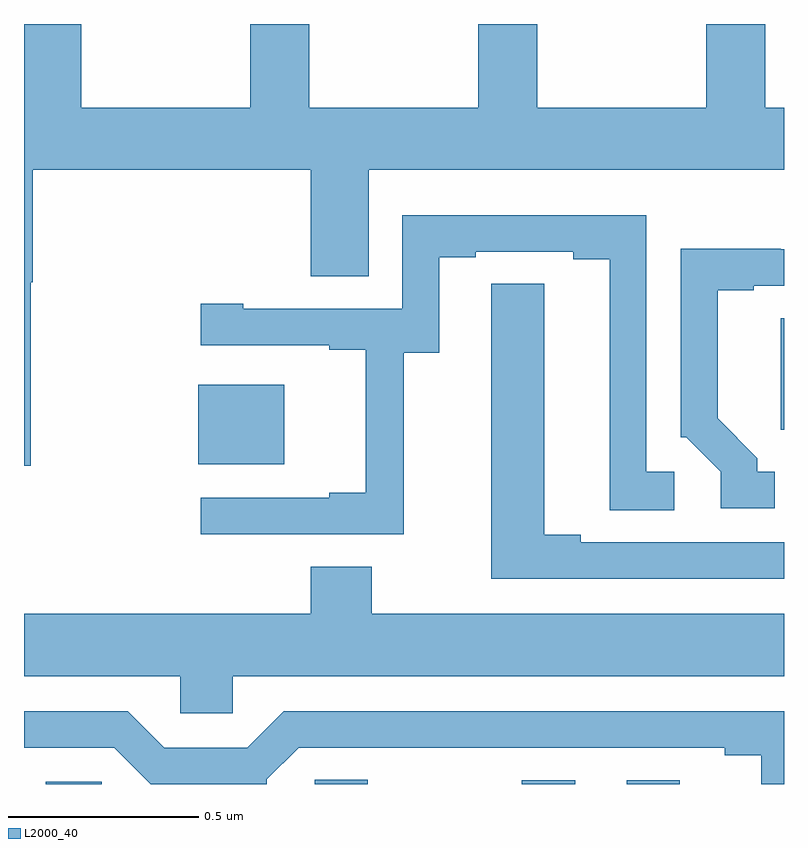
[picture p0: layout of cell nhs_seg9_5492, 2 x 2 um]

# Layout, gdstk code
import gdstk
lib = gdstk.Library(unit=1e-6, precision=1e-09)
def R(c, l, rs):  # rectangles x0, y0, x1, y1
    for r in rs: c.add(gdstk.rectangle(r[:2], r[2:], *l))
def P(c, l, *ps):  # polygons
    for p in ps: c.add(gdstk.Polygon(p, *l))
L2000_40 = (2000, 40)

nhs_seg9_5492 = lib.new_cell('nhs_seg9_5492')
R(nhs_seg9_5492, L2000_40, [(180.057,1165.5,180.204,1165.506), (180.765,1165.5,180.904,1165.511), (181.31,1165.5,181.45,1165.51), (181.586,1165.5,181.726,1165.51), (180.458,1166.342,180.685,1166.551), (181.991,1166.432,182,1166.726)])
P(nhs_seg9_5492, L2000_40, [(182,1167.28),(181.95,1167.28),(181.95,1167.5),(181.795,1167.5),(181.795,1167.28),(181.35,1167.28),(181.35,1167.5),(181.195,1167.5),(181.195,1167.28),(180.75,1167.28),(180.75,1167.5),(180.595,1167.5),(180.595,1167.28),(180.15,1167.28),(180.15,1167.5),(180,1167.5),(180,1166.337),(180.018,1166.337),(180.018,1166.82),(180.023,1166.82),(180.023,1167.116),(180.755,1167.116),(180.755,1166.836),(180.907,1166.836),(180.907,1167.116),(182,1167.116)],
  [(180.999,1166.635),(181.093,1166.635),(181.093,1166.886),(181.189,1166.886),(181.189,1166.901),(181.445,1166.901),(181.445,1166.881),(181.541,1166.881),(181.541,1166.221),(181.711,1166.221),(181.711,1166.322),(181.638,1166.322),(181.638,1166.997),(180.996,1166.997),(180.996,1166.751),(180.577,1166.751),(180.577,1166.764),(180.465,1166.764),(180.465,1166.655),(180.803,1166.655),(180.803,1166.643),(180.899,1166.643),(180.899,1166.266),(180.803,1166.266),(180.803,1166.253),(180.465,1166.253),(180.465,1166.157),(180.999,1166.157)],
  [(181.975,1166.322),(181.93,1166.322),(181.93,1166.357),(181.825,1166.462),(181.825,1166.799),(181.921,1166.799),(181.921,1166.811),(182,1166.811),(182,1166.907),(181.991,1166.907),(181.991,1166.909),(181.728,1166.909),(181.728,1166.412),(181.743,1166.412),(181.833,1166.322),(181.833,1166.226),(181.975,1166.226)],
  [(182,1166.136),(181.465,1166.136),(181.465,1166.156),(181.369,1166.156),(181.369,1166.816),(181.23,1166.816),(181.23,1166.708),(181.229,1166.708),(181.229,1166.04),(182,1166.04)],
  [(180.549,1165.784),(182,1165.784),(182,1165.948),(180.915,1165.948),(180.915,1166.072),(180.755,1166.072),(180.755,1165.948),(180,1165.948),(180,1165.784),(180.411,1165.784),(180.411,1165.686),(180.549,1165.686)],
  [(180.639,1165.512),(180.723,1165.596),(181.844,1165.596),(181.844,1165.576),(181.94,1165.576),(181.94,1165.5),(182,1165.5),(182,1165.692),(180.683,1165.692),(180.587,1165.596),(180.369,1165.596),(180.273,1165.692),(180,1165.692),(180,1165.596),(180.237,1165.596),(180.333,1165.5),(180.639,1165.5)])

lib.write_gds('nhs_seg9_5492.gds')
